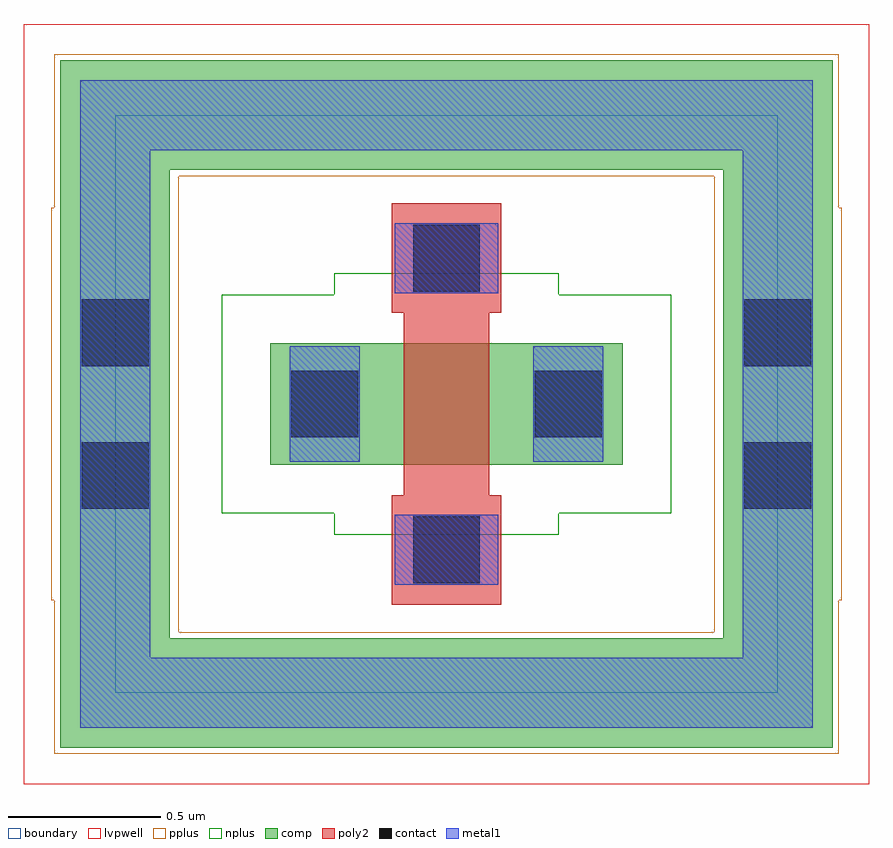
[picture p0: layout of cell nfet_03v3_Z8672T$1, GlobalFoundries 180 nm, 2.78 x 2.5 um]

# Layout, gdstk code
import gdstk
lib = gdstk.Library(unit=1e-6, precision=1e-09)
def R(c, l, rs):  # rectangles x0, y0, x1, y1
    for r in rs: c.add(gdstk.rectangle(r[:2], r[2:], *l))
boundary = (0, 0)
comp = (22, 0)
poly2 = (30, 0)
pplus = (31, 0)
nplus = (32, 0)
contact = (33, 0)
metal1 = (34, 0)
lvpwell = (204, 0)

nfet_03v3_z8672t_1 = lib.new_cell('nfet_03v3_Z8672T$1')
R(nfet_03v3_z8672t_1, boundary, [(-1.09,-0.95,1.09,0.95)])
R(nfet_03v3_z8672t_1, comp, [(-1.27,-1.13,1.27,-0.77), (-1.27,-0.77,-0.91,0.77), (0.91,-0.77,1.27,0.77), (-0.58,-0.2,0.58,0.2), (-1.27,0.77,1.27,1.13)])
R(nfet_03v3_z8672t_1, poly2, [(-0.18,-0.66,0.18,-0.3), (-0.14,-0.3,0.14,0.3), (-0.18,0.3,0.18,0.66)])
R(nfet_03v3_z8672t_1, pplus, [(-1.29,-1.15,1.29,-0.75), (-1.29,-0.75,-0.88,-0.645), (0.88,-0.75,1.29,-0.645), (-1.3,-0.645,-0.88,0.645), (0.88,-0.645,1.3,0.645), (-1.29,0.645,-0.88,0.75), (0.88,0.645,1.29,0.75), (-1.29,0.75,1.29,1.15)])
R(nfet_03v3_z8672t_1, nplus, [(-0.37,-0.43,0.37,-0.36), (-0.74,-0.36,0.74,0.36), (-0.37,0.36,0.37,0.43)])
R(nfet_03v3_z8672t_1, contact, [(-0.11,-0.59,0.11,-0.37), (-1.2,-0.345,-0.98,-0.125), (0.98,-0.345,1.2,-0.125), (-0.51,-0.11,-0.29,0.11), (0.29,-0.11,0.51,0.11), (-1.2,0.125,-0.98,0.345), (0.98,0.125,1.2,0.345), (-0.11,0.37,0.11,0.59)])
R(nfet_03v3_z8672t_1, metal1, [(-1.205,-1.065,1.205,-0.835), (-1.205,-0.835,-0.975,0.835), (0.975,-0.835,1.205,0.835), (-0.17,-0.595,0.17,-0.365), (-0.515,-0.19,-0.285,0.19), (0.285,-0.19,0.515,0.19), (-0.17,0.365,0.17,0.595), (-1.205,0.835,1.205,1.065)])
R(nfet_03v3_z8672t_1, lvpwell, [(-1.39,-1.25,1.39,1.25)])

lib.write_gds('nfet_03v3_Z8672T_1.gds')
